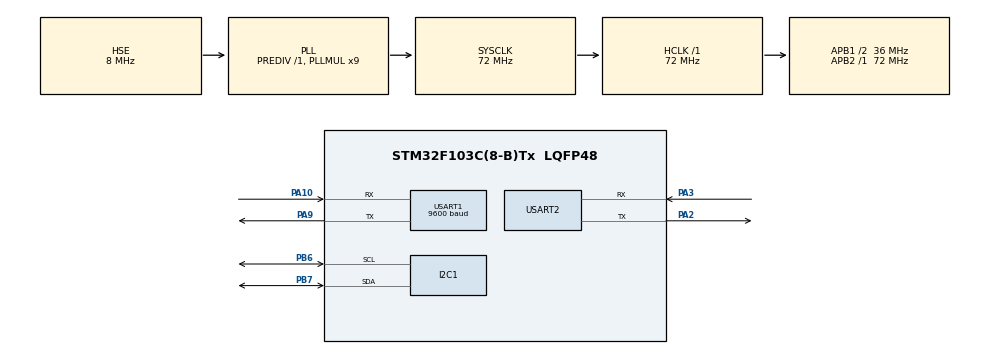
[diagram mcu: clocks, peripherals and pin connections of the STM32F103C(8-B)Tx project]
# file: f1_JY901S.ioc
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I2C1.I2C_Mode=I2C_Fast
Mcu.Family=STM32F1
Mcu.Name=STM32F103C(8-B)Tx
Mcu.Package=LQFP48
NVIC.PriorityGroup=NVIC_PRIORITYGROUP_4
NVIC.USART1_IRQn=true\:0\:0\:false\:false\:true\:true\:true\:true
PA10.Mode=Asynchronous
PA10.Signal=USART1_RX
PA13.Mode=Serial_Wire
PA13.Signal=SYS_JTMS-SWDIO
PA14.Mode=Serial_Wire
PA14.Signal=SYS_JTCK-SWCLK
PA2.Mode=Asynchronous
PA2.Signal=USART2_TX
PA3.Mode=Asynchronous
PA3.Signal=USART2_RX
PA9.Mode=Asynchronous
PA9.Signal=USART1_TX
PB6.Mode=I2C
PB6.Signal=I2C1_SCL
PB7.Mode=I2C
PB7.Signal=I2C1_SDA
PD0-OSC_IN.Mode=HSE-External-Oscillator
PD0-OSC_IN.Signal=RCC_OSC_IN
PD1-OSC_OUT.Mode=HSE-External-Oscillator
PD1-OSC_OUT.Signal=RCC_OSC_OUT
ProjectManager.HeapSize=0x200
ProjectManager.StackSize=0x400
ProjectManager.TargetToolchain=MDK-ARM V5.32
RCC.AHBFreq_Value=72000000
RCC.APB1CLKDivider=RCC_HCLK_DIV2
RCC.APB1Freq_Value=36000000
RCC.APB1TimFreq_Value=72000000
RCC.APB2Freq_Value=72000000
RCC.APB2TimFreq_Value=72000000
RCC.HCLKFreq_Value=72000000
RCC.PLLMUL=RCC_PLL_MUL9
RCC.PLLSourceVirtual=RCC_PLLSOURCE_HSE
RCC.SYSCLKFreq_VALUE=72000000
RCC.SYSCLKSource=RCC_SYSCLKSOURCE_PLLCLK
RCC.USBFreq_Value=72000000
USART1.BaudRate=9600
USART1.VirtualMode=VM_ASYNC
USART2.VirtualMode=VM_ASYNC
board=custom

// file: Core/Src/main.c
/* USER CODE BEGIN Header */
/**
  ******************************************************************************
  * @file           : main.c
  * @brief          : Main program body
  ******************************************************************************
  * @attention
  *
  * Copyright (c) 2024 STMicroelectronics.
  * All rights reserved.
  *
  * This software is licensed under terms that can be found in the LICENSE file
  * in the root directory of this software component.
  * If no LICENSE file comes with this software, it is provided AS-IS.
  *
  ******************************************************************************
  */
/* USER CODE END Header */
#include "main.h"
#include "i2c.h"
#include "usart.h"
#include "gpio.h"

/* USER CODE BEGIN Includes */

#include "REG.h"
#include "JY_Serial.h"
#include "OLED.h"
#include <stdio.h>

/* USER CODE END Includes */

/* USER CODE BEGIN PTD */

uint8_t rx_data;
typedef struct
{
		float Angle[3];		/* 三轴角度 */
		float Accel[3];		/* 三轴加速度 */
		float Gyro[3];		/* 三轴角速度 */

}JY901_GetData;

JY901_GetData IMU;

uint8_t z_AngleUnlock[5]={0xFF,0xAA,0x69,0x88,0xB5};
uint8_t z_AngleCalibration[5]={0xFF,0xAA,0x01,0x04,0x00};
uint8_t z_AngleSave[5]={0xFF,0xAA,0x00,0x00,0x00};

/* 串口重定向 */

#pragma import(__use_no_semihosting)
//标准库需要的支持函数
struct __FILE
{
	int handle;

};

FILE __stdout;
//定义_sys_exit()以避免使用半主机模式
void _sys_exit(int x)
{
	x = x;
}
//重定义fputc函数
int fputc(int ch, FILE *f)
{
    //二选一,功能一样
    HAL_UART_Transmit (&huart2 ,(uint8_t *)&ch,1,HAL_MAX_DELAY );
	return ch;

//	while((USART1->SR&0X40)==0);//循环发送,直到发送完毕
//    USART1->DR = (uint8_t) ch;
//	return ch;
}

/* USER CODE END PTD */

/* USER CODE BEGIN PD */

void HAL_UART_RxCpltCallback(UART_HandleTypeDef *huart)
{
		static uint8_t rx_buffer[11],rx_cnt;		/* 串口数据接收缓冲区 */

		HAL_UART_Receive_IT(&huart1,&rx_data,sizeof(rx_data));

		rx_buffer[rx_cnt++]=rx_data;
		if(rx_buffer[0]!=0x55) rx_cnt=0;

		if(rx_cnt>=11)		/* 一组数据接收完毕 */
		{
				switch(rx_buffer[1])
				{
						case 0x51:			/* 三轴加速度获取 */
								IMU.Accel[0]=(short)(((short)rx_buffer[3]<<8)|rx_buffer[2])/32768.0*16.0;	/* x轴加速度 */
						    IMU.Accel[1]=(short)(((short)rx_buffer[5]<<8)|rx_buffer[4])/32768.0*16.0;	/* y轴加速度 */
						    IMU.Accel[2]=(short)(((short)rx_buffer[7]<<8)|rx_buffer[6])/32768.0*16.0;	/* z轴加速度 */
								break;

						case 0x52:			/* 三轴角速度获取 */
								IMU.Gyro[0]=(short)(((short)rx_buffer[3]<<8)|rx_buffer[2])/32768.0*2000.0;	/* x轴角速度 */
						    IMU.Gyro[1]=(short)(((short)rx_buffer[5]<<8)|rx_buffer[4])/32768.0*2000.0;	/* y轴角速度 */
						    IMU.Gyro[2]=(short)(((short)rx_buffer[7]<<8)|rx_buffer[6])/32768.0*2000.0;	/* z轴角速度 */
								break;

						case 0x53:			/* 三轴角度获取 */
								IMU.Angle[0]=(short)(((short)rx_buffer[3]<<8)|rx_buffer[2])/32768.0*180.0;	/* 滚转角读取 */
						    IMU.Angle[1]=(short)(((short)rx_buffer[5]<<8)|rx_buffer[4])/32768.0*180.0;	/* 俯仰角读取 */
						    IMU.Angle[2]=(short)(((short)rx_buffer[7]<<8)|rx_buffer[6])/32768.0*180.0;	/* 偏航角读取 */
								break;
				}
				rx_cnt=0;			/* 清零 */
		}

}

/* z轴角度校准(6轴) */
void z_Angle_Calibration(void)
{
		HAL_UART_Transmit (&huart1 ,z_AngleUnlock,sizeof(z_AngleUnlock),0xff);
		HAL_Delay(200);
		HAL_UART_Transmit (&huart1 ,z_AngleCalibration,sizeof(z_AngleCalibration),0xff);
		HAL_Delay(4000);
		HAL_UART_Transmit (&huart1 ,z_AngleSave,sizeof(z_AngleSave),0xff);
}

/* USER CODE END PD */

void SystemClock_Config(void);

int main(void)
{

  /* MCU Configuration--------------------------------------------------------*/

  /* Reset of all peripherals, Initializes the Flash interface and the Systick. */
  HAL_Init();

  /* Configure the system clock */
  SystemClock_Config();

  /* Initialize all configured peripherals */
  MX_GPIO_Init();
  MX_I2C1_Init();
  MX_USART1_UART_Init();
  MX_USART2_UART_Init();
  /* USER CODE BEGIN 2 */

//	OLED_Init();
//	OLED_Clear();
	z_Angle_Calibration();		/* z轴角度校准 */

	HAL_UART_Receive_IT(&huart1,&rx_data,1);

  /* USER CODE END 2 */

  /* Infinite loop */
  /* USER CODE BEGIN WHILE */
  while (1)
  {
//		HAL_Delay(400);

//		printf("Ag_x:%f  ",IMU.Angle[0]);
//		printf("Ag_y:%f  ",IMU.Angle[1]);
//		printf("Ag_z:%f  \n\n",IMU.Angle[2]);
//
//		printf("Ac_x:%f  ",IMU.Accel[0]);
//		printf("Ac_y:%f  ",IMU.Accel[1]);
//		printf("Ac_z:%f  \n\n",IMU.Accel[2]);

//		printf("Gy_x:%f  ",IMU.Gyro[0]);
//		printf("Gy_y:%f  ",IMU.Gyro[1]);
//		printf("Gy_z:%f  \n\n\n\n",IMU.Gyro[2]);

    /* USER CODE END WHILE */

  }
}

void SystemClock_Config(void)
{
  RCC_OscInitTypeDef RCC_OscInitStruct = {0};
  RCC_ClkInitTypeDef RCC_ClkInitStruct = {0};

  /** Initializes the RCC Oscillators according to the specified parameters
  * in the RCC_OscInitTypeDef structure.
  */
  RCC_OscInitStruct.OscillatorType = RCC_OSCILLATORTYPE_HSE;
  RCC_OscInitStruct.HSEState = RCC_HSE_ON;
  RCC_OscInitStruct.HSEPredivValue = RCC_HSE_PREDIV_DIV1;
  RCC_OscInitStruct.HSIState = RCC_HSI_ON;
  RCC_OscInitStruct.PLL.PLLState = RCC_PLL_ON;
  RCC_OscInitStruct.PLL.PLLSource = RCC_PLLSOURCE_HSE;
  RCC_OscInitStruct.PLL.PLLMUL = RCC_PLL_MUL9;
  if (HAL_RCC_OscConfig(&RCC_OscInitStruct) != HAL_OK)
  {
    Error_Handler();
  }

  /** Initializes the CPU, AHB and APB buses clocks
  */
  RCC_ClkInitStruct.ClockType = RCC_CLOCKTYPE_HCLK|RCC_CLOCKTYPE_SYSCLK
                              |RCC_CLOCKTYPE_PCLK1|RCC_CLOCKTYPE_PCLK2;
  RCC_ClkInitStruct.SYSCLKSource = RCC_SYSCLKSOURCE_PLLCLK;
  RCC_ClkInitStruct.AHBCLKDivider = RCC_SYSCLK_DIV1;
  RCC_ClkInitStruct.APB1CLKDivider = RCC_HCLK_DIV2;
  RCC_ClkInitStruct.APB2CLKDivider = RCC_HCLK_DIV1;

  if (HAL_RCC_ClockConfig(&RCC_ClkInitStruct, FLASH_LATENCY_2) != HAL_OK)
  {
    Error_Handler();
  }
}

void Error_Handler(void)
{
  __disable_irq();
  while (1)
  {
  }
}
